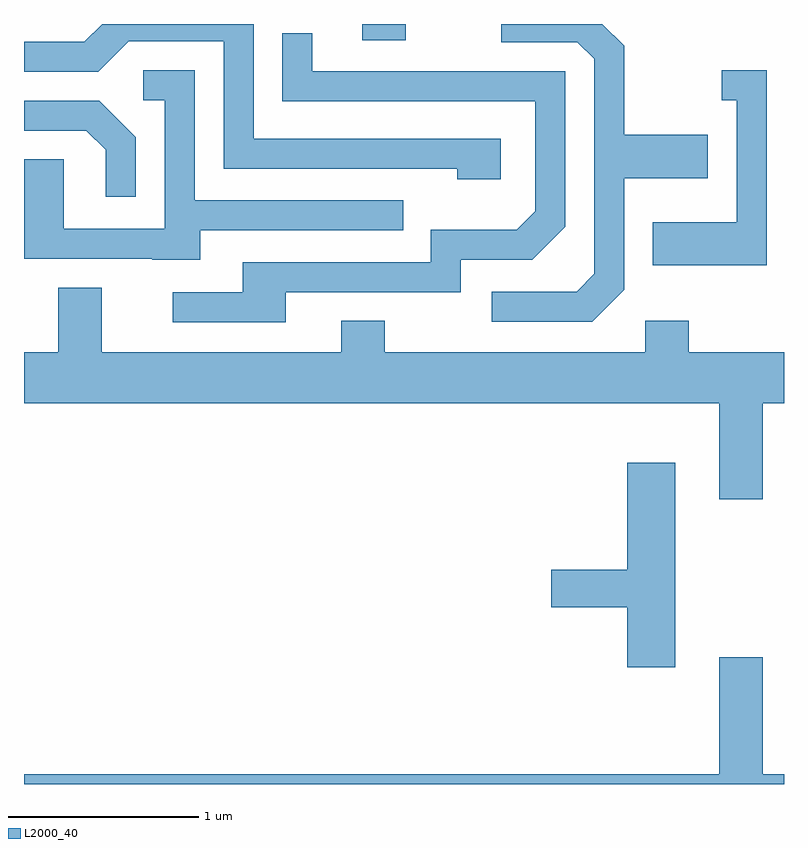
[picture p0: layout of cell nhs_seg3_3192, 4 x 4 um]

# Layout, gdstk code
import gdstk
lib = gdstk.Library(unit=1e-6, precision=1e-09)
def R(c, l, rs):  # rectangles x0, y0, x1, y1
    for r in rs: c.add(gdstk.rectangle(r[:2], r[2:], *l))
def P(c, l, *ps):  # polygons
    for p in ps: c.add(gdstk.Polygon(p, *l))
L2000_40 = (2000, 40)

nhs_seg3_3192 = lib.new_cell('nhs_seg3_3192')
R(nhs_seg3_3192, L2000_40, [(279.391,1247.806,279.619,1247.892)])
P(nhs_seg3_3192, L2000_40, [(280.119,1247.289),(278.819,1247.289),(278.819,1247.892),(278.022,1247.892),(277.929,1247.799),(277.611,1247.799),(277.611,1247.641),(278.002,1247.641),(278.162,1247.801),(278.661,1247.801),(278.661,1247.131),(279.891,1247.131),(279.891,1247.076),(280.119,1247.076)],
  [(280.769,1246.494),(280.769,1247.081),(281.209,1247.081),(281.209,1247.309),(280.769,1247.309),(280.769,1247.777),(280.654,1247.892),(280.123,1247.892),(280.123,1247.796),(280.524,1247.796),(280.611,1247.709),(280.611,1246.577),(280.519,1246.484),(280.073,1246.484),(280.073,1246.326),(280.602,1246.326)],
  [(278.989,1246.481),(279.909,1246.481),(279.909,1246.651),(280.287,1246.651),(280.459,1246.824),(280.459,1247.644),(279.129,1247.644),(279.129,1247.843),(278.971,1247.843),(278.971,1247.486),(280.301,1247.486),(280.301,1246.907),(280.204,1246.809),(279.751,1246.809),(279.751,1246.639),(278.761,1246.639),(278.761,1246.479),(278.393,1246.479),(278.393,1246.321),(278.989,1246.321)],
  [(278.539,1246.806),(279.608,1246.806),(279.608,1246.964),(278.509,1246.964),(278.509,1247.649),(278.238,1247.649),(278.238,1247.491),(278.351,1247.491),(278.351,1246.814),(277.819,1246.814),(277.819,1247.179),(277.611,1247.179),(277.611,1246.656),(278.285,1246.656),(278.285,1246.651),(278.539,1246.651)],
  [(281.519,1247.649),(281.283,1247.649),(281.283,1247.491),(281.361,1247.491),(281.361,1246.849),(280.921,1246.849),(280.921,1246.621),(281.519,1246.621)],
  [(278.199,1247.297),(278.007,1247.489),(277.611,1247.489),(277.611,1247.331),(277.939,1247.331),(278.041,1247.229),(278.041,1246.983),(278.199,1246.983)],
  [(281.499,1245.896),(281.611,1245.896),(281.611,1246.164),(281.109,1246.164),(281.109,1246.329),(280.881,1246.329),(280.881,1246.164),(279.509,1246.164),(279.509,1246.329),(279.281,1246.329),(279.281,1246.164),(278.019,1246.164),(278.019,1246.504),(277.791,1246.504),(277.791,1246.164),(277.611,1246.164),(277.611,1245.896),(281.271,1245.896),(281.271,1245.391),(281.499,1245.391)],
  [(281.039,1245.584),(280.786,1245.584),(280.786,1245.019),(280.386,1245.019),(280.386,1244.821),(280.786,1244.821),(280.786,1244.506),(281.039,1244.506)],
  [(281.611,1243.944),(281.499,1243.944),(281.499,1244.559),(281.271,1244.559),(281.271,1243.944),(277.611,1243.944),(277.611,1243.892),(281.611,1243.892)])

lib.write_gds('nhs_seg3_3192.gds')
